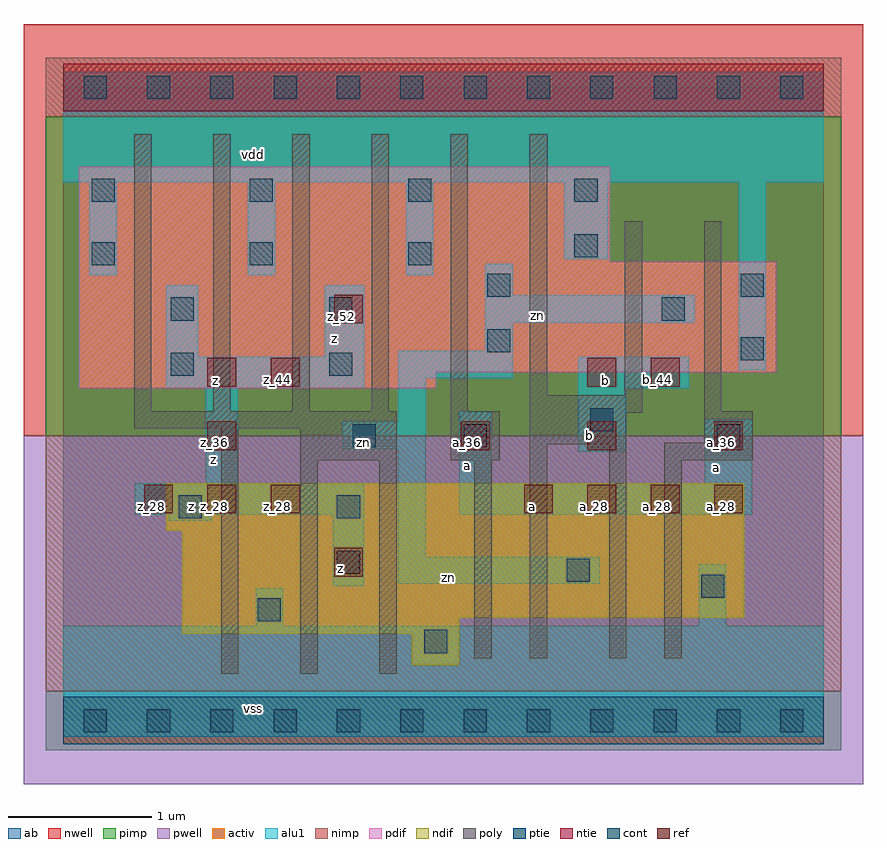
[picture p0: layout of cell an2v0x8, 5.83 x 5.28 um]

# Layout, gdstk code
import gdstk
lib = gdstk.Library(unit=1e-6, precision=2.5e-09)
def R(c, l, rs):  # rectangles x0, y0, x1, y1
    for r in rs: c.add(gdstk.rectangle(r[:2], r[2:], *l))
def A(c, l, x, y, w, h, nx, ny, dx, dy):  # array of equal rectangles
    R(c, l, [(x+i*dx, y+j*dy, x+i*dx+w, y+j*dy+h) for i in range(nx) for j in range(ny)])
ndif = (3, 0)
pdif = (4, 0)
ntie = (5, 0)
ptie = (6, 0)
ref = (24, 0)
cont = (25, 0)
pwell = (41, 0)
nwell = (42, 0)
activ = (43, 0)
pimp = (44, 0)
nimp = (45, 0)
poly = (46, 0)
alu1 = (49, 0)
ab = (63, 0)

an2v0x8 = lib.new_cell('an2v0x8')
R(an2v0x8, ndif, [(2.42,0.385,2.75,0.605), (0.825,0.605,2.75,0.715), (0.825,0.715,4.73,1.32), (0.715,1.32,4.73,1.65)])
R(an2v0x8, pdif, [(0.11,2.31,2.585,2.42), (0.11,2.42,4.95,3.19), (0.11,3.19,3.795,3.85)])
R(an2v0x8, ntie, [(0,4.235,5.28,4.565)])
R(an2v0x8, ptie, [(0,-0.165,5.28,0.165)])
A(an2v0x8, ref, 0.56, 1.44, 0.2, 0.2, 3, 1, 0.44, 0)
A(an2v0x8, ref, 3.2, 1.44, 0.2, 0.2, 4, 1, 0.44, 0)
A(an2v0x8, ref, 2.76, 1.88, 0.2, 0.2, 3, 1, 0.88, 0)
R(an2v0x8, ref, [(1.88,1,2.08,1.2), (1,1.88,1.2,2.08), (1,2.32,1.2,2.52), (1.44,2.32,1.64,2.52), (3.64,2.32,3.84,2.52), (4.08,2.32,4.28,2.52), (1.88,2.76,2.08,2.96)])
A(an2v0x8, cont, 0.14, -0.08, 0.16, 0.16, 12, 2, 0.44, 4.4)
A(an2v0x8, cont, 0.195, 3.165, 0.16, 0.16, 3, 2, 1.1, 0.44)
R(an2v0x8, cont, [(2.505,0.47,2.665,0.63), (1.35,0.69,1.51,0.85), (4.43,0.855,4.59,1.015), (3.495,0.965,3.655,1.125), (1.9,1.02,2.06,1.18), (0.8,1.405,0.96,1.565), (1.9,1.405,2.06,1.565), (2.01,1.9,2.17,2.06), (2.78,1.9,2.94,2.06), (4.54,1.9,4.7,2.06), (3.66,2.01,3.82,2.17), (0.745,2.395,0.905,2.555), (1.845,2.395,2.005,2.555), (4.705,2.505,4.865,2.665), (2.945,2.56,3.105,2.72), (0.745,2.78,0.905,2.94), (1.845,2.78,2.005,2.94), (4.155,2.78,4.315,2.94), (2.945,2.945,3.105,3.105), (4.705,2.945,4.865,3.105), (3.55,3.22,3.71,3.38), (3.55,3.605,3.71,3.765)])
R(an2v0x8, pwell, [(-0.275,-0.44,5.555,1.98)])
R(an2v0x8, nwell, [(-0.275,1.98,5.555,4.84)])
R(an2v0x8, activ, [(0,-0.165,5.28,0.165), (2.42,0.385,2.75,0.605), (0.825,0.605,2.75,0.715), (0.825,0.715,4.73,1.32), (0.715,1.32,4.73,1.65), (0.11,2.31,2.585,2.42), (0.11,2.42,4.95,3.19), (0.11,3.19,3.795,3.85), (0,4.235,5.28,4.565)])
R(an2v0x8, pimp, [(-0.125,-0.205,5.405,0.205), (-0.125,1.98,5.405,4.195)])
R(an2v0x8, nimp, [(-0.125,0.205,5.405,1.98), (-0.125,4.195,5.405,4.605)])
A(an2v0x8, poly, 0.49, 2.15, 0.12, 1.925, 5, 1, 0.55, 0)
R(an2v0x8, poly, [(1.095,0.325,1.215,2.03), (1.645,0.325,1.765,1.81), (2.195,0.325,2.315,1.81), (2.855,0.435,2.975,1.81), (3.24,0.435,3.36,1.92), (3.79,0.435,3.91,1.92), (4.175,0.435,4.295,1.81), (1.645,1.81,2.315,2.03), (2.69,1.81,3.03,2.15), (4.175,1.81,4.79,1.93), (3.24,1.92,3.91,2.14), (4.45,1.93,4.79,2.15), (0.49,2.03,2.315,2.15), (3.24,2.14,4.02,2.26), (4.45,2.15,4.57,3.47), (3.24,2.26,3.36,4.075), (3.9,2.26,4.02,3.47)])
A(an2v0x8, alu1, 0.18, 3.095, 0.19, 0.645, 3, 1, 1.1, 0)
R(an2v0x8, alu1, [(0,-0.11,5.28,0.66), (1.335,0.66,1.525,0.92), (4.415,0.66,4.605,1.085), (1.87,0.935,2.09,1.43), (2.325,0.95,3.725,1.14), (2.325,1.14,2.515,1.885), (0.73,1.39,1.03,1.43), (0.495,1.43,2.09,1.65), (2.75,1.43,4.785,1.65), (0.99,1.65,1.21,2.31), (2.75,1.65,2.97,2.145), (4.455,1.65,4.785,2.09), (3.575,1.87,3.905,2.31), (1.94,1.885,2.515,2.075), (2.325,2.075,2.515,2.38), (0.715,2.31,2.09,2.53), (3.575,2.31,4.345,2.53), (2.325,2.38,3.12,2.57), (4.69,2.435,4.88,3.74), (0.715,2.53,0.935,3.025), (1.815,2.53,2.09,3.025), (2.93,2.57,3.12,2.765), (2.93,2.765,4.385,2.955), (2.93,2.955,3.12,3.175), (3.48,3.205,3.78,3.74), (0,3.74,5.28,4.51)])
R(an2v0x8, ab, [(0,0,5.28,4.4)])
an2v0x8.add(gdstk.Label('vss', (1.32,0.0825), layer=49, texttype=0))
an2v0x8.add(gdstk.Label('zn', (2.675,0.9975), layer=49, texttype=0))
an2v0x8.add(gdstk.Label('a', (3.2575,1.485), layer=49, texttype=0))
an2v0x8.add(gdstk.Label('a', (4.5375,1.76), layer=49, texttype=0))
an2v0x8.add(gdstk.Label('b', (3.6575,1.98), layer=49, texttype=0))
an2v0x8.add(gdstk.Label('a', (2.805,1.7725), layer=49, texttype=0))
an2v0x8.add(gdstk.Label('z', (1.925,1.0575), layer=49, texttype=0))
an2v0x8.add(gdstk.Label('z', (0.8925,1.485), layer=49, texttype=0))
an2v0x8.add(gdstk.Label('zn', (2.0825,1.9325), layer=49, texttype=0))
an2v0x8.add(gdstk.Label('b', (3.7675,2.365), layer=49, texttype=0))
an2v0x8.add(gdstk.Label('z', (1.045,1.815), layer=49, texttype=0))
an2v0x8.add(gdstk.Label('z', (1.0575,2.365), layer=49, texttype=0))
an2v0x8.add(gdstk.Label('zn', (3.2925,2.8125), layer=49, texttype=0))
an2v0x8.add(gdstk.Label('z', (1.8825,2.6525), layer=49, texttype=0))
an2v0x8.add(gdstk.Label('vdd', (1.32,3.9325), layer=49, texttype=0))
an2v0x8.add(gdstk.Label('z_28', (0.61,1.49), layer=24, texttype=0))
an2v0x8.add(gdstk.Label('z_28', (1.05,1.49), layer=24, texttype=0))
an2v0x8.add(gdstk.Label('z_36', (1.05,1.93), layer=24, texttype=0))
an2v0x8.add(gdstk.Label('z_44', (1.05,2.37), layer=24, texttype=0))
an2v0x8.add(gdstk.Label('z_28', (1.49,1.49), layer=24, texttype=0))
an2v0x8.add(gdstk.Label('z_44', (1.49,2.37), layer=24, texttype=0))
an2v0x8.add(gdstk.Label('z_20', (1.93,1.05), layer=24, texttype=0))
an2v0x8.add(gdstk.Label('z_52', (1.93,2.81), layer=24, texttype=0))
an2v0x8.add(gdstk.Label('a_36', (2.81,1.93), layer=24, texttype=0))
an2v0x8.add(gdstk.Label('a_28', (3.25,1.49), layer=24, texttype=0))
an2v0x8.add(gdstk.Label('a_28', (3.69,1.49), layer=24, texttype=0))
an2v0x8.add(gdstk.Label('b_36', (3.69,1.93), layer=24, texttype=0))
an2v0x8.add(gdstk.Label('b_44', (3.69,2.37), layer=24, texttype=0))
an2v0x8.add(gdstk.Label('a_28', (4.13,1.49), layer=24, texttype=0))
an2v0x8.add(gdstk.Label('b_44', (4.13,2.37), layer=24, texttype=0))
an2v0x8.add(gdstk.Label('a_28', (4.57,1.49), layer=24, texttype=0))
an2v0x8.add(gdstk.Label('a_36', (4.57,1.93), layer=24, texttype=0))

lib.write_gds('an2v0x8.gds')
